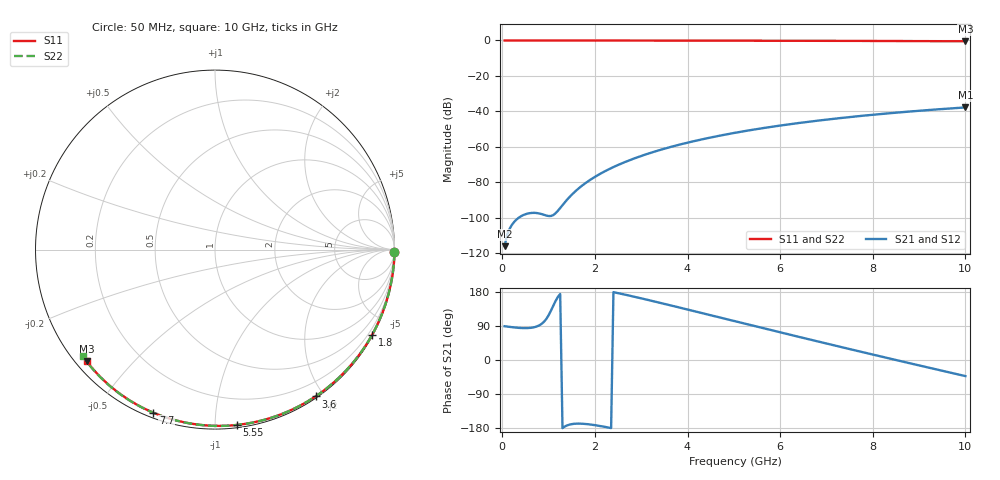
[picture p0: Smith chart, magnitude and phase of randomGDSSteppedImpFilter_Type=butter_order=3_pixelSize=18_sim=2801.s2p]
! freq	dB(S11)	phase(S11)	dB(S12)	phase(S12)
!  dB(S21)	phase(S21)	dB(S22)	phase(S22)
!S-par simulation data
#  GHz  S  DB  R 50
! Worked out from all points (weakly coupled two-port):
!   200 points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, 50 MHz to 10 GHz, reference 50 ohm
!   highest |S21| = -37.83 dB at 10 GHz (marker M1); lowest = -116.2 dB at 50 MHz (marker M2)
!   lowest |S11| = -0.5 dB at 10 GHz (marker M3), VSWR 37.31, Z = 1.53 - j18.7 ohm
!   |S11| at or under -10 dB: nowhere
!   |S22| runs from -0.5 to 0.0 dB; largest |S21 - S12| = 0
!   S11 on the Smith chart (normalised r, x): 50 MHz: open; 1.8 GHz: 0.03, -3.94; 3.6 GHz: 0.02, -1.90; 5.55 GHz: 0.02, -1.13; 7.7 GHz: 0.02, -0.69; 10 GHz: 0.03, -0.37
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0.05  -0.00 -0.8  -116.19 89.1  -116.19 89.1  -0.00 -0.8
0.45  -0.01 -7.2  -98.67 84.2  -98.67 84.2  -0.01 -7.3
0.9  -0.02 -14.4  -98.47 100.9  -98.47 100.9  -0.02 -14.6
1.75  -0.04 -27.7  -81.46 -168.3  -81.46 -168.3  -0.04 -28.1
1.8  -0.04 -28.5  -80.49 -168.8  -80.49 -168.8  -0.04 -28.9
1.85  -0.04 -29.2  -79.58 -169.4  -79.58 -169.4  -0.04 -29.7
2.05  -0.04 -32.3  -76.27 -172.9  -76.27 -172.9  -0.04 -32.8
2.25  -0.05 -35.4  -73.42 -177.3  -73.42 -177.3  -0.05 -36.0
2.55  -0.05 -40.0  -69.76 175.2  -69.76 175.2  -0.05 -40.6
2.95  -0.06 -46.0  -65.69 164.1  -65.69 164.1  -0.06 -46.7
3.4  -0.07 -52.7  -61.90 151.1  -61.90 151.1  -0.07 -53.5
3.6  -0.07 -55.6  -60.41 145.2  -60.41 145.2  -0.08 -56.5
3.9  -0.08 -60.0  -58.36 136.2  -58.36 136.2  -0.08 -60.9
4.3  -0.09 -65.7  -55.92 124.2  -55.92 124.2  -0.09 -66.7
5.05  -0.12 -76.2  -52.04 101.6  -52.04 101.6  -0.12 -77.3
5.55  -0.14 -83.0  -49.84 86.6  -49.84 86.6  -0.14 -84.2
6.1  -0.16 -90.3  -47.70 70.1  -47.70 70.1  -0.16 -91.6
6.7  -0.19 -98.1  -45.65 52.3  -45.65 52.3  -0.19 -99.6
7.7  -0.25 -110.8  -42.74 23.0  -42.74 23.0  -0.26 -112.4
8.35  -0.30 -118.8  -41.13 4.3  -41.13 4.3  -0.31 -120.6
9.2  -0.38 -129.2  -39.30 -19.9  -39.30 -19.9  -0.39 -131.2
10  -0.47 -139.0  -37.83 -42.5  -37.83 -42.5  -0.47 -141.1
